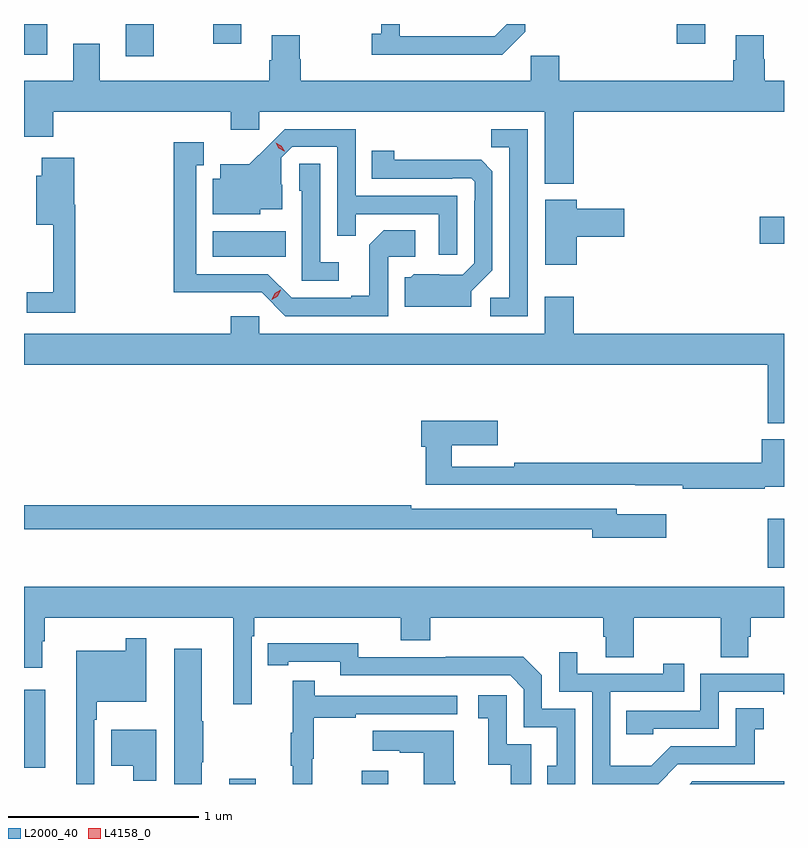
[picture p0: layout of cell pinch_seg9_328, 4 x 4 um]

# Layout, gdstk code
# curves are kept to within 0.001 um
import gdstk
lib = gdstk.Library(unit=1e-6, precision=1e-09)
def R(c, l, rs):  # rectangles x0, y0, x1, y1
    for r in rs: c.add(gdstk.rectangle(r[:2], r[2:], *l))
def P(c, l, *ps):  # polygons
    for p in ps: c.add(gdstk.Polygon(p, *l))
L2000_40 = (2000, 40)
L4158_0 = (4158, 0)

pinch_seg9_328 = lib.new_cell('pinch_seg9_328')
R(pinch_seg9_328, L2000_40, [(615.647,1179.562,615.787,1179.589), (616.343,1179.562,616.483,1179.631), (614.566,1179.647,614.677,1180.057), (618.48,1180.7,618.566,1180.957), (615.56,1182.338,615.944,1182.472), (618.438,1182.406,618.566,1182.548), (615.101,1183.392,615.249,1183.562), (614.566,1183.4,614.689,1183.562), (615.561,1183.458,615.709,1183.562), (618.002,1183.458,618.151,1183.562)])
P(pinch_seg9_328, L2000_40, [(617.205,1183.521),(617.205,1183.562),(617.108,1183.562),(617.043,1183.497),(616.543,1183.497),(616.543,1183.562),(616.446,1183.562),(616.446,1183.51),(616.395,1183.51),(616.395,1183.4),(617.084,1183.4)],
  [(617.459,1183.1),(618.566,1183.1),(618.566,1183.264),(618.464,1183.264),(618.464,1183.377),(618.459,1183.377),(618.459,1183.502),(618.311,1183.502),(618.311,1183.37),(618.299,1183.37),(618.299,1183.264),(617.384,1183.264),(617.384,1183.396),(617.232,1183.396),(617.232,1183.264),(616.022,1183.264),(616.022,1183.377),(616.017,1183.377),(616.017,1183.502),(615.869,1183.502),(615.869,1183.37),(615.857,1183.37),(615.857,1183.264),(614.965,1183.264),(614.965,1183.459),(614.825,1183.459),(614.825,1183.264),(614.566,1183.264),(614.566,1183.1),(614.568,1183.1),(614.568,1182.969),(614.72,1182.969),(614.72,1183.1),(615.653,1183.1),(615.653,1183.005),(615.804,1183.005),(615.804,1183.1),(617.306,1183.1),(617.306,1182.722),(617.459,1182.722)],
  [(616.845,1182.657),(616.311,1182.657),(616.311,1183.008),(615.938,1183.008),(615.751,1182.823),(615.599,1182.823),(615.599,1182.747),(615.56,1182.747),(615.56,1182.56),(615.81,1182.56),(615.81,1182.587),(615.925,1182.587),(615.925,1182.716),(615.921,1182.716),(615.921,1182.858),(615.978,1182.915),(616.215,1182.915),(616.215,1182.448),(616.313,1182.448),(616.313,1182.561),(616.749,1182.561),(616.749,1182.348),(616.845,1182.348)],
  [(617.217,1183.008),(617.026,1183.008),(617.026,1182.913),(617.121,1182.913),(617.121,1182.12),(617.019,1182.12),(617.019,1182.024),(617.217,1182.024)],
  [(616.482,1182.336),(616.624,1182.336),(616.624,1182.476),(616.459,1182.476),(616.383,1182.4),(616.383,1182.133),(616.289,1182.133),(616.289,1182.12),(615.975,1182.12),(615.849,1182.246),(615.472,1182.246),(615.472,1182.819),(615.511,1182.819),(615.511,1182.94),(615.354,1182.94),(615.354,1182.149),(615.816,1182.15),(615.942,1182.024),(616.482,1182.024)],
  [(616.921,1182.156),(617.031,1182.266),(617.031,1182.788),(616.972,1182.847),(616.515,1182.848),(616.515,1182.895),(616.396,1182.895),(616.396,1182.747),(616.82,1182.747),(616.82,1182.75),(616.92,1182.75),(616.938,1182.732),(616.938,1182.632),(616.935,1182.632),(616.935,1182.303),(616.875,1182.243),(616.618,1182.244),(616.602,1182.228),(616.571,1182.228),(616.571,1182.074),(616.921,1182.074)],
  [(614.837,1182.61),(614.831,1182.61),(614.831,1182.859),(614.66,1182.859),(614.66,1182.763),(614.63,1182.763),(614.63,1182.506),(614.72,1182.506),(614.72,1182.151),(614.58,1182.151),(614.58,1182.042),(614.837,1182.042)],
  [(616.222,1182.307),(616.125,1182.307),(616.125,1182.827),(616.014,1182.827),(616.014,1182.684),(616.029,1182.684),(616.029,1182.21),(616.222,1182.21)],
  [(617.476,1182.443),(617.725,1182.443),(617.725,1182.59),(617.476,1182.59),(617.476,1182.637),(617.309,1182.637),(617.309,1182.294),(617.476,1182.294)],
  [(618.566,1181.932),(617.459,1181.932),(617.459,1182.127),(617.306,1182.127),(617.306,1181.932),(615.804,1181.932),(615.804,1182.025),(615.653,1182.025),(615.653,1181.932),(614.566,1181.932),(614.566,1181.768),(618.481,1181.768),(618.481,1181.462),(618.566,1181.462)],
  [(618.465,1181.126),(618.566,1181.126),(618.566,1181.377),(618.449,1181.377),(618.449,1181.252),(617.146,1181.252),(617.146,1181.232),(616.817,1181.232),(616.817,1181.345),(617.059,1181.345),(617.059,1181.475),(616.658,1181.475),(616.658,1181.338),(616.681,1181.338),(616.681,1181.136),(617.782,1181.136),(617.782,1181.135),(618.034,1181.135),(618.034,1181.116),(618.465,1181.116)],
  [(617.947,1180.981),(617.686,1180.981),(617.686,1181.01),(616.604,1181.01),(616.604,1181.03),(614.566,1181.03),(614.566,1180.902),(617.558,1180.902),(617.558,1180.859),(617.947,1180.859)],
  [(615.765,1180.34),(615.779,1180.34),(615.779,1180.436),(616.55,1180.436),(616.55,1180.319),(616.703,1180.319),(616.703,1180.436),(617.615,1180.436),(617.615,1180.338),(617.627,1180.338),(617.627,1180.228),(617.775,1180.228),(617.775,1180.436),(618.232,1180.436),(618.232,1180.228),(618.379,1180.228),(618.379,1180.338),(618.392,1180.338),(618.392,1180.436),(618.566,1180.436),(618.566,1180.6),(614.566,1180.6),(614.566,1180.173),(614.662,1180.173),(614.662,1180.313),(614.674,1180.313),(614.674,1180.436),(615.668,1180.436),(615.668,1179.981),(615.765,1179.981)],
  [(614.937,1179.899),(614.95,1179.899),(614.95,1179.995),(615.21,1179.995),(615.21,1180.33),(615.102,1180.33),(615.102,1180.264),(614.84,1180.264),(614.84,1179.562),(614.937,1179.562)],
  [(617.466,1179.957),(617.292,1179.957),(617.292,1180.134),(617.194,1180.232),(616.786,1180.232),(616.786,1180.23),(616.326,1180.23),(616.326,1180.303),(615.85,1180.302),(615.85,1180.186),(615.958,1180.186),(615.958,1180.206),(616.23,1180.206),(616.23,1180.134),(617.124,1180.134),(617.196,1180.062),(617.196,1179.861),(617.369,1179.861),(617.369,1179.657),(617.32,1179.657),(617.32,1179.562),(617.466,1179.562)],
  [(615.502,1179.676),(615.51,1179.676),(615.51,1179.893),(615.502,1179.893),(615.502,1180.273),(615.356,1180.273),(615.356,1179.562),(615.502,1179.562)],
  [(618.007,1179.666),(618.411,1179.666),(618.411,1179.851),(618.46,1179.851),(618.46,1179.961),(618.312,1179.961),(618.312,1179.762),(617.97,1179.762),(617.866,1179.658),(617.652,1179.658),(617.652,1180.047),(618.041,1180.047),(618.041,1180.195),(617.93,1180.195),(617.93,1180.143),(617.479,1180.143),(617.479,1180.255),(617.382,1180.255),(617.382,1180.047),(617.556,1180.047),(617.556,1179.562),(617.903,1179.562)],
  [(617.877,1179.852),(618.222,1179.852),(618.222,1180.047),(618.563,1180.047),(618.563,1180.035),(618.566,1180.035),(618.566,1180.143),(618.126,1180.143),(618.126,1179.948),(617.737,1179.948),(617.737,1179.825),(617.877,1179.825)],
  [(616.082,1179.696),(616.09,1179.696),(616.09,1179.91),(616.313,1179.91),(616.313,1179.93),(616.846,1179.93),(616.846,1180.026),(616.097,1180.026),(616.097,1180.105),(615.98,1180.105),(615.98,1179.833),(615.969,1179.833),(615.969,1179.659),(615.98,1179.659),(615.98,1179.562),(616.082,1179.562)],
  [(617.235,1179.771),(617.106,1179.771),(617.106,1180.03),(616.956,1180.03),(616.956,1179.909),(617.009,1179.909),(617.009,1179.663),(617.127,1179.663),(617.127,1179.562),(617.235,1179.562)],
  [(615.262,1179.847),(615.026,1179.847),(615.026,1179.659),(615.14,1179.659),(615.14,1179.578),(615.262,1179.578)],
  [(616.836,1179.577),(616.828,1179.577),(616.828,1179.841),(616.401,1179.841),(616.401,1179.737),(616.544,1179.737),(616.544,1179.727),(616.67,1179.727),(616.67,1179.562),(616.836,1179.562)],
  [(618.566,1179.576),(618.084,1179.576),(618.07,1179.562),(618.566,1179.562)])
P(pinch_seg9_328, L4158_0, [(615.937,1182.891),(615.907,1182.907),(615.89,1182.936),(615.89,1182.937),(615.89,1182.937),(615.921,1182.921),(615.938,1182.891),(615.938,1182.891)],
  [(615.869,1182.111),(615.869,1182.111),(615.886,1182.144),(615.918,1182.164),(615.918,1182.164),(615.918,1182.163),(615.901,1182.13),(615.87,1182.111)])

lib.write_gds('pinch_seg9_328.gds')
